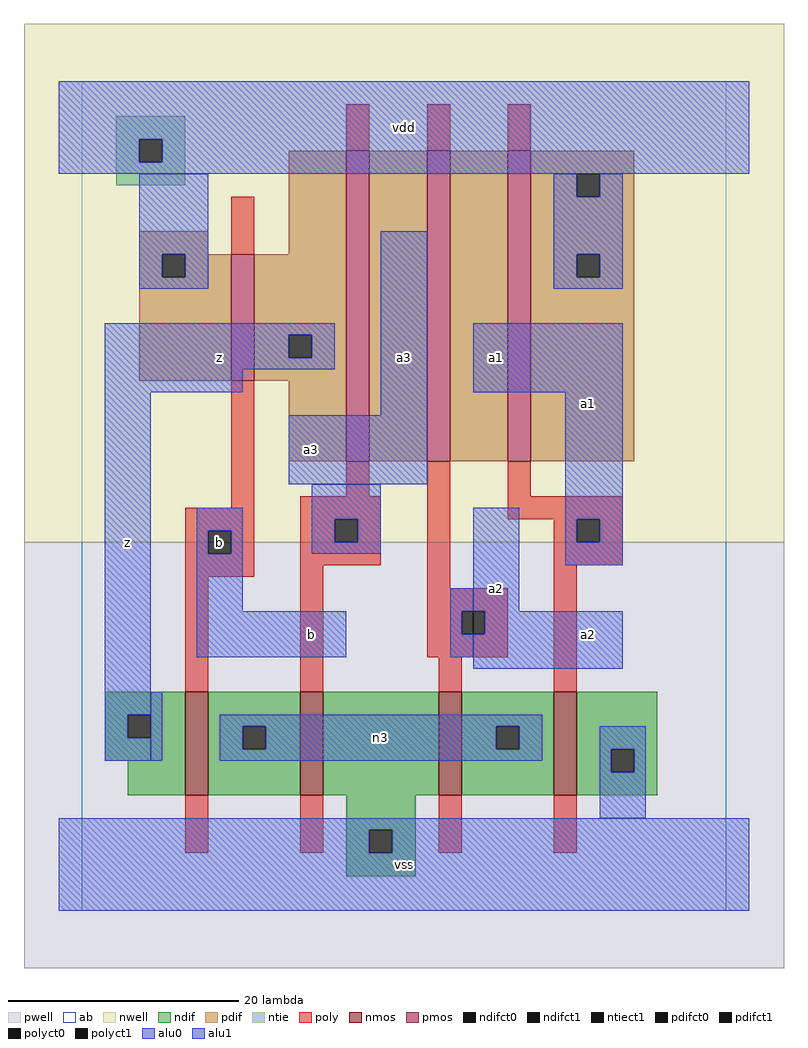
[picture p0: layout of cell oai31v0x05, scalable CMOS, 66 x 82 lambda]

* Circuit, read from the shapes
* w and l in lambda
.subckt oai31v0x05 a1 a2 a3 b n3 vdd vss z
M1 n3 b z VSUBS nfet w=9 l=2
M2 vss a3 n3 VSUBS nfet w=9 l=2
M3 n3 a2 vss VSUBS nfet w=9 l=2
M4 vss a1 n3 VSUBS nfet w=9 l=2
M5 z b vdd vdd pfet w=11 l=2
M6 n1 a3 z vdd pfet w=27 l=2
M7 n2 a2 n1 vdd pfet w=27 l=2
M8 vdd a1 n2 vdd pfet w=27 l=2
.ends

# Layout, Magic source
magic
tech scmos
<< ab >>
rect 0 0 56 72
<< nwell >>
rect -5 32 61 77
<< pwell >>
rect -5 -5 61 32
<< poly >>
rect 23 66 25 70
rect 30 66 32 70
rect 37 66 39 70
rect 13 57 15 62
rect 13 35 15 46
rect 23 36 25 39
rect 9 33 15 35
rect 9 31 11 33
rect 13 31 15 33
rect 9 29 15 31
rect 19 34 26 36
rect 19 32 22 34
rect 24 32 26 34
rect 19 30 26 32
rect 9 19 11 29
rect 19 19 21 30
rect 30 28 32 39
rect 37 36 39 39
rect 37 34 47 36
rect 41 32 43 34
rect 45 32 47 34
rect 41 30 47 32
rect 30 26 37 28
rect 30 24 33 26
rect 35 24 37 26
rect 30 22 37 24
rect 31 19 33 22
rect 41 19 43 30
rect 9 5 11 10
rect 19 5 21 10
rect 31 5 33 10
rect 41 5 43 10
<< ndif >>
rect 2 17 9 19
rect 2 15 4 17
rect 6 15 9 17
rect 2 13 9 15
rect 4 10 9 13
rect 11 16 19 19
rect 11 14 14 16
rect 16 14 19 16
rect 11 10 19 14
rect 21 10 31 19
rect 33 16 41 19
rect 33 14 36 16
rect 38 14 41 16
rect 33 10 41 14
rect 43 14 50 19
rect 43 12 46 14
rect 48 12 50 14
rect 43 10 50 12
rect 23 7 29 10
rect 23 5 25 7
rect 27 5 29 7
rect 23 3 29 5
<< pdif >>
rect 5 57 11 59
rect 18 57 23 66
rect 5 55 7 57
rect 9 55 13 57
rect 5 46 13 55
rect 15 50 23 57
rect 15 48 18 50
rect 20 48 23 50
rect 15 46 23 48
rect 18 39 23 46
rect 25 39 30 66
rect 32 39 37 66
rect 39 64 48 66
rect 39 62 43 64
rect 45 62 48 64
rect 39 57 48 62
rect 39 55 43 57
rect 45 55 48 57
rect 39 39 48 55
<< alu1 >>
rect -2 67 58 72
rect -2 65 5 67
rect 7 65 58 67
rect -2 64 58 65
rect 2 50 22 51
rect 2 48 18 50
rect 20 48 22 50
rect 2 47 22 48
rect 2 45 14 47
rect 2 17 6 45
rect 26 43 30 59
rect 34 45 47 51
rect 18 37 30 43
rect 10 33 14 35
rect 10 31 11 33
rect 13 31 14 33
rect 10 26 14 31
rect 34 26 38 35
rect 42 34 47 45
rect 42 32 43 34
rect 45 32 47 34
rect 42 30 47 32
rect 10 22 23 26
rect 35 24 47 26
rect 34 21 47 24
rect 2 15 4 17
rect 2 13 6 15
rect -2 7 58 8
rect -2 5 25 7
rect 27 5 58 7
rect -2 0 58 5
<< ntie >>
rect 3 67 9 69
rect 3 65 5 67
rect 7 65 9 67
rect 3 63 9 65
<< nmos >>
rect 9 10 11 19
rect 19 10 21 19
rect 31 10 33 19
rect 41 10 43 19
<< pmos >>
rect 13 46 15 57
rect 23 39 25 66
rect 30 39 32 66
rect 37 39 39 66
<< polyct0 >>
rect 22 32 24 34
rect 33 24 34 26
<< polyct1 >>
rect 11 31 13 33
rect 43 32 45 34
rect 34 24 35 26
<< ndifct0 >>
rect 14 14 16 16
rect 36 14 38 16
rect 46 12 48 14
<< ndifct1 >>
rect 4 15 6 17
rect 25 5 27 7
<< ntiect1 >>
rect 5 65 7 67
<< pdifct0 >>
rect 7 55 9 57
rect 43 62 45 64
rect 43 55 45 57
<< pdifct1 >>
rect 18 48 20 50
<< alu0 >>
rect 5 57 11 64
rect 41 62 43 64
rect 45 62 47 64
rect 5 55 7 57
rect 9 55 11 57
rect 5 54 11 55
rect 41 57 47 62
rect 41 55 43 57
rect 45 55 47 57
rect 41 54 47 55
rect 20 34 26 37
rect 20 32 22 34
rect 24 32 26 34
rect 20 31 26 32
rect 32 26 34 28
rect 32 24 33 26
rect 32 22 34 24
rect 6 13 7 19
rect 12 16 40 17
rect 12 14 14 16
rect 16 14 36 16
rect 38 14 40 16
rect 12 13 40 14
rect 45 14 49 16
rect 45 12 46 14
rect 48 12 49 14
rect 45 8 49 12
<< labels >>
rlabel alu0 26 15 26 15 6 n3
rlabel alu1 4 32 4 32 6 z
rlabel polyct1 12 32 12 32 6 b
rlabel alu1 20 24 20 24 6 b
rlabel alu1 20 40 20 40 6 a3
rlabel alu1 12 48 12 48 6 z
rlabel alu1 28 4 28 4 6 vss
rlabel alu1 36 28 36 28 6 a2
rlabel alu1 28 48 28 48 6 a3
rlabel alu1 36 48 36 48 6 a1
rlabel alu1 28 68 28 68 6 vdd
rlabel alu1 44 24 44 24 6 a2
rlabel alu1 44 44 44 44 6 a1
<< end >>
